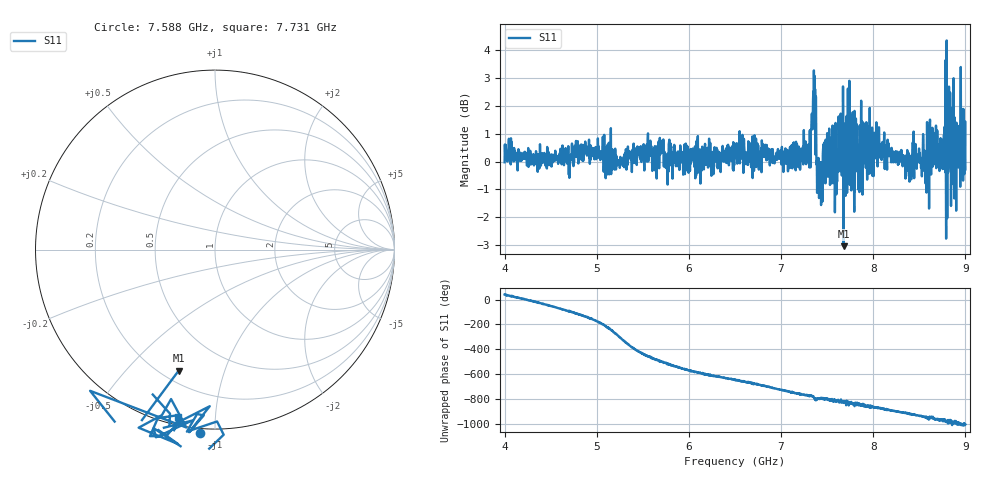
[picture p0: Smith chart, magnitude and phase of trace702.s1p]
! Created with skrf 1.8.0 (http://scikit-rf.org).
# Hz S RI R 50.0
!freq ReS11 ImS11
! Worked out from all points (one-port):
!   1601 points, 4 GHz to 9 GHz, reference 50 ohm
!   lowest |S11| = -3.0 dB at 7.678 GHz (marker M1), VSWR 5.77, Z = 13.2 - j35.5 ohm
!   |S11| at or under -10 dB: nowhere
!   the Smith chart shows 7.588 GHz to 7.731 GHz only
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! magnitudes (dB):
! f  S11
! 4 GHz  0.0
! 4.625 GHz  0.2
! 4.891 GHz  0.4
! 5.25 GHz  -0.2
! 5.572 GHz  0.3
! 5.875 GHz  0.3
! 6.5 GHz  0.6
! 7.125 GHz  0.3
! 7.294 GHz  0.1
! 7.353 GHz  1.8
! 7.412 GHz  -1.3
! 7.478 GHz  -0.4
! 7.594 GHz  0.5
! 7.65 GHz  0.5
! 7.678 GHz  -3.0
! 7.75 GHz  0.5
! 7.769 GHz  -0.5
! 7.891 GHz  0.3
! 7.981 GHz  -0.4
! 8.375 GHz  0.1
! 8.441 GHz  -0.1
! 8.584 GHz  1.4
! 8.638 GHz  0.6
! 8.728 GHz  0.3
! 8.822 GHz  2.7
! 8.919 GHz  0.0
! 8.972 GHz  0.7
! 9 GHz  -0.3
